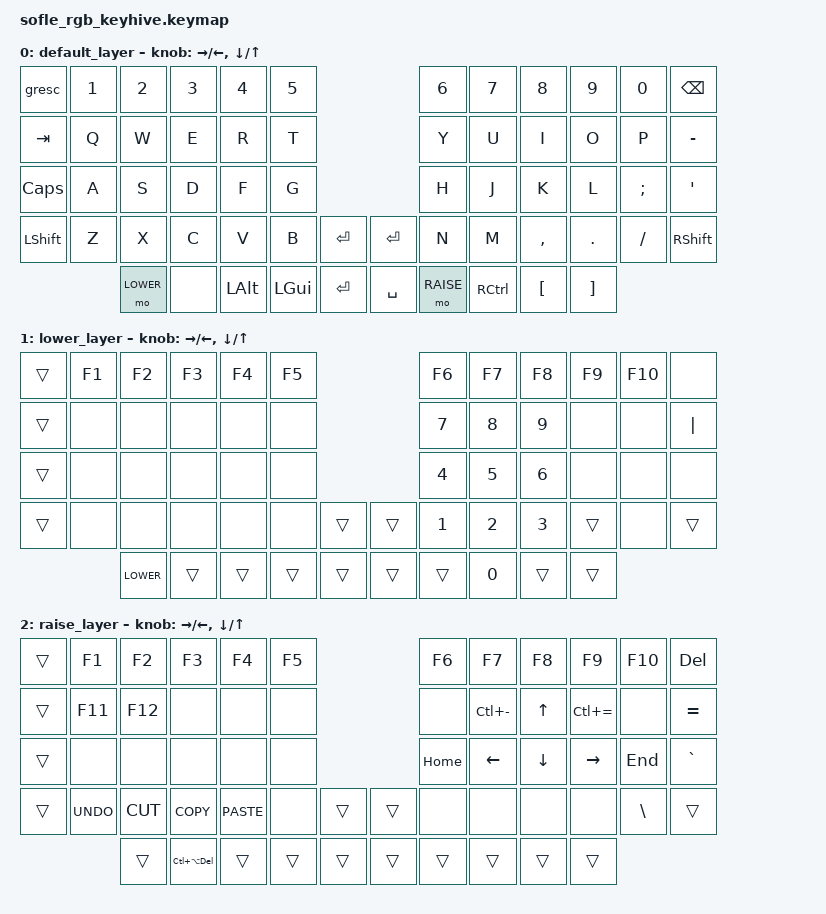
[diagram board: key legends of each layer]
#include <behaviors.dtsi>
#include <dt-bindings/zmk/keys.h>
#include <dt-bindings/zmk/bt.h>

#define DEFAULT 0
#define LOWER 1
#define RAISE 2

/ {
    behaviors {
        minpipe: minus_pipe {
            compatible = "zmk,behavior-mod-morph";
            label = "MINUS_PIPE";
            #binding-cells = <0>;
            bindings = <&kp MINUS>, <&kp PIPE>;
            mods = <(MOD_LALT)>;
        };
    };
};

/ {
    keymap {
        compatible = "zmk,keymap";

        default_layer {

//    ┌───────────────┬────────┬──────────┬──────────┬───────────┬───────────────┐                            ┌───────────────┬───────────┬───────────┬──────────┬──────────┬───────────┐
//    │    GRESC      │   1    │    2     │    3     │     4     │      5        │                            │      6        │    7      │     8     │    9     │    0     │   Bkspc   │
//    ├───────────────┼────────┼──────────┼──────────┼───────────┼───────────────┤                            ├───────────────┼───────────┼───────────┼──────────┼──────────┼───────────┤
//    │     Tab       │   Q    │    W     │    E     │     R     │      T        │                            │      Y        │    U      │     I     │    O     │    P     │    -_     │
//    ├───────────────┼────────┼──────────┼──────────┼───────────┼───────────────┤                            ├───────────────┼───────────┼───────────┼──────────┼──────────┼───────────┤
//    │  Caps Lock    │   A    │    S     │    D     │     F     │      G        │                            │      H        │    J      │     K     │    L     │    ;     │    '      │
//    ├───────────────┼────────┼──────────┼──────────┼───────────┼───────────────┼──────────────┬─────────────┼───────────────┼───────────┼───────────┼──────────┼──────────┼───────────┤
//    │    Shift      │   Z    │    X     │    C     │     V     │      B        │    Enter     │    Enter    │      N        │    M      │     ,     │    .     │    /     │   Shift   │
//    └───────────────┴────────┼──────────┼──────────┼───────────┼───────────────┼──────────────┼─────────────┼───────────────┼───────────┼───────────┼──────────┼──────────┴───────────┘
//                             │ Mo-Lower │   None   │   L-Alt   │    L-GUI      │    Enter     │    Space    │    Mo-Raise   │   R-Ctrl  │    [      │    ]     │                       
//                             └──────────┴──────────┴───────────┴───────────────┴──────────────┴─────────────┴───────────────┴───────────┴───────────┴──────────┘                       


            bindings = <
&gresc          &kp N1      &kp N2          &kp N3          &kp N4          &kp N5                                          &kp N6          &kp N7          &kp N8          &kp N9          &kp N0          &kp BSPC
&kp TAB         &kp Q       &kp W           &kp E           &kp R           &kp T                                           &kp Y           &kp U           &kp I           &kp O           &kp P           &kp MINUS
&kp CAPS        &kp A       &kp S           &kp D           &kp F           &kp G                                           &kp H           &kp J           &kp K           &kp L           &kp SEMI        &kp SQT
&kp LSHFT       &kp Z       &kp X           &kp C           &kp V           &kp B           &kp ENTER       &kp ENTER       &kp N           &kp M           &kp COMMA       &kp DOT         &kp FSLH        &kp RSHFT
                            &mo LOWER       &none           &kp LALT        &kp LGUI        &kp ENTER       &kp SPACE       &mo RAISE       &kp RCTRL       &kp LBKT        &kp RBKT >;

            sensor-bindings = <&inc_dec_kp RIGHT LEFT &inc_dec_kp DOWN UP>;
        };


        lower_layer {

//    ┌───────────────┬────────┬──────────┬──────────┬───────────┬───────────────┐                            ┌───────────────┬───────────┬───────────┬──────────┬──────────┬───────────┐
//    │    (trans)    │   F1   │    F2    │    F3    │    F4     │      F5       │                            │      F6       │    F7     │     F8    │    F9    │   F10    │           │
//    ├───────────────┼────────┼──────────┼──────────┼───────────┼───────────────┤                            ├───────────────┼───────────┼───────────┼──────────┼──────────┼───────────┤
//    │    (trans)    │   F11  │    F12   │          │           │               │                            │      7        │    8      │     9     │          │          │     |     │
//    ├───────────────┼────────┼──────────┼──────────┼───────────┼───────────────┤                            ├───────────────┼───────────┼───────────┼──────────┼──────────┼───────────┤
//    │    (trans)    │        │          │          │           │               │                            │      4        │    5      │     6     │          │          │           │
//    ├───────────────┼────────┼──────────┼──────────┼───────────┼───────────────┼──────────────┬─────────────┼───────────────┼───────────┼───────────┼──────────┼──────────┼───────────┤
//    │    (trans)    │        │          │          │           │               │    (trans)   │   (trans)   │      1        │    2      │     3     │    .     │          │  (trans)  │
//    └───────────────┴────────┼──────────┼──────────┼───────────┼───────────────┼──────────────┼─────────────┼───────────────┼───────────┼───────────┼──────────┼──────────┴───────────┘
//                             │  Lower   │ (trans)  │ (trans)   │   (trans)     │    (trans)   │   (trans)   │   (trans)     │     0     │ (trans)   │ (trans)  │                       
//                             └──────────┴──────────┴───────────┴───────────────┴──────────────┴─────────────┴───────────────┴───────────┴───────────┴──────────┘                       

            bindings = <
&trans    &kp F1    &kp F2     &kp F3      &kp F4    &kp F5                      &kp F6    &kp F7   &kp F8   &kp F9    &kp F10   &none
&trans    &none     &none      &none       &none     &none                       &kp N7    &kp N8   &kp N9   &none     &none     &kp PIPE
&trans    &none     &none      &none       &none     &none                       &kp N4    &kp N5   &kp N6   &none     &none     &none
&trans    &none     &none      &none       &none     &none     &trans   &trans   &kp N1    &kp N2   &kp N3   &trans    &none     &trans
                    &kp LOWER  &trans      &trans    &trans    &trans   &trans   &trans    &kp N0   &trans   &trans >;

            sensor-bindings = <&inc_dec_kp RIGHT LEFT &inc_dec_kp DOWN UP>;
        };

        raise_layer {

//    ┌───────────────┬────────┬──────────┬──────────┬───────────┬───────────────┐                            ┌───────────────┬───────────┬───────────┬──────────┬──────────┬───────────┐
//    │   (trans)     │   F1   │    F2    │    F3    │     F4    │      F5       │                            │      F6       │    F7     │    F8     │    F9    │    F10   │    DEL    │
//    ├───────────────┼────────┼──────────┼──────────┼───────────┼───────────────┤                            ├───────────────┼───────────┼───────────┼──────────┼──────────┼───────────┤
//    │   (trans)     │  F11   │   F12    │          │           │               │                            │               │ ZOOM OUT  │    Up     │ ZOOM IN  │          │    =+     │
//    ├───────────────┼────────┼──────────┼──────────┼───────────┼───────────────┤                            ├───────────────┼───────────┼───────────┼──────────┼──────────┼───────────┤
//    │   (trans)     │        │          │          │           │               │                            │     Home      │   Left    │   Down    │  Right   │   End    │    `~     │
//    ├───────────────┼────────┼──────────┼──────────┼───────────┼───────────────┼──────────────┬─────────────┼───────────────┼───────────┼───────────┼──────────┼──────────┼───────────┤
//    │   (trans)     │  Undo  │   Cut    │   Copy   │   Paste   │               │   (trans)    │   (trans)   │               │           │           │          │    \     │  (trans)  │
//    └───────────────┴────────┼──────────┼──────────┼───────────┼───────────────┼──────────────┼─────────────┼───────────────┼───────────┼───────────┼──────────┼──────────┴───────────┘
//                             │  (trans) │ Ctrl^Del │  (trans)  │   (trans)     │   (trans)    │   (trans)   │   (trans)     │  (trans)  │  (trans)  │ (trans)  │                       
//                             └──────────┴──────────┴───────────┴───────────────┴──────────────┴─────────────┴───────────────┴───────────┴───────────┴──────────┘                       

            bindings = <
&trans     &kp F1       &kp F2       &kp F3                &kp F4       &kp F5                   &kp F6    &kp F7            &kp F8      &kp F9           &kp F10     &kp DEL
&trans     &kp F11      &kp F12      &none                 &none        &none                    &none     &kp LC(MINUS)     &kp UP      &kp LC(EQUAL)    &none       &kp EQUAL
&trans     &none        &none        &none                 &none        &none                    &kp HOME  &kp LEFT          &kp DOWN    &kp RIGHT        &kp END     &kp GRAVE
&trans     &kp K_UNDO   &kp K_CUT    &kp K_COPY            &kp K_PASTE  &none   &trans   &trans  &none     &none             &none       &none            &kp BSLH    &trans
                        &trans       &kp LC(LA(DEL))       &trans       &trans  &trans   &trans  &trans    &trans            &trans      &trans >;

            sensor-bindings = <&inc_dec_kp RIGHT LEFT &inc_dec_kp DOWN UP>;
        };
    };
};
